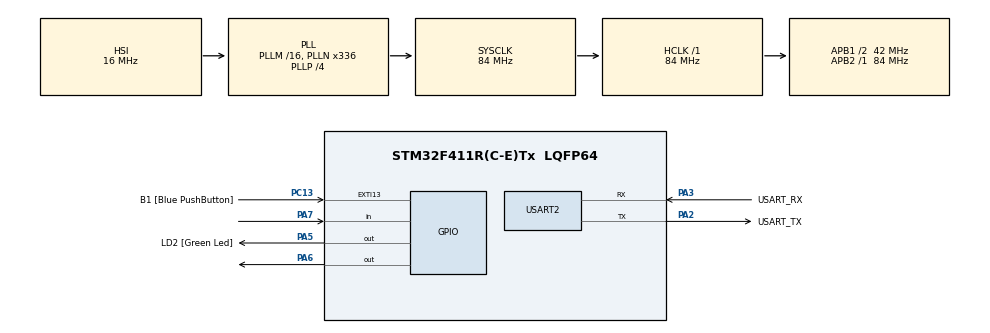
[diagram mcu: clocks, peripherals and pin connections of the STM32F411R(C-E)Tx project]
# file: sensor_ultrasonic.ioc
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Mcu.Family=STM32F4
Mcu.Name=STM32F411R(C-E)Tx
Mcu.Package=LQFP64
NVIC.PriorityGroup=NVIC_PRIORITYGROUP_0
PA13.GPIO_Label=TMS
PA13.Mode=Serial_Wire
PA13.Signal=SYS_JTMS-SWDIO
PA14.GPIO_Label=TCK
PA14.Mode=Serial_Wire
PA14.Signal=SYS_JTCK-SWCLK
PA2.GPIO_Label=USART_TX
PA2.Mode=Asynchronous
PA2.Signal=USART2_TX
PA3.GPIO_Label=USART_RX
PA3.Mode=Asynchronous
PA3.Signal=USART2_RX
PA5.GPIO_Label=LD2 [Green Led]
PA5.Signal=GPIO_Output
PA6.Signal=GPIO_Output
PA7.Signal=GPIO_Input
PB3.GPIO_Label=SWO
PB3.Signal=SYS_JTDO-SWO
PC13-ANTI_TAMP.GPIO_Label=B1 [Blue PushButton]
PC13-ANTI_TAMP.GPIO_ModeDefaultEXTI=GPIO_MODE_IT_FALLING
PC13-ANTI_TAMP.Signal=GPXTI13
PC14-OSC32_IN.Mode=LSE-External-Oscillator
PC14-OSC32_IN.Signal=RCC_OSC32_IN
PC15-OSC32_OUT.Mode=LSE-External-Oscillator
PC15-OSC32_OUT.Signal=RCC_OSC32_OUT
PH0\ -\ OSC_IN.Mode=HSE-External-Clock-Source
PH0\ -\ OSC_IN.Signal=RCC_OSC_IN
PH1\ -\ OSC_OUT.Mode=HSE-External-Clock-Source
PH1\ -\ OSC_OUT.Signal=RCC_OSC_OUT
ProjectManager.HeapSize=0x200
ProjectManager.StackSize=0x400
ProjectManager.TargetToolchain=STM32CubeIDE
RCC.48MHZClocksFreq_Value=84000000
RCC.AHBFreq_Value=84000000
RCC.APB1CLKDivider=RCC_HCLK_DIV2
RCC.APB1Freq_Value=42000000
RCC.APB1TimFreq_Value=84000000
RCC.APB2Freq_Value=84000000
RCC.APB2TimFreq_Value=84000000
RCC.CortexFreq_Value=84000000
RCC.FLatency-AdvancedSettings=FLASH_LATENCY_2
RCC.HCLKFreq_Value=84000000
RCC.HSE_VALUE=8000000
RCC.HSI_VALUE=16000000
RCC.PLLN=336
RCC.PLLP=RCC_PLLP_DIV4
RCC.SYSCLKFreq_VALUE=84000000
RCC.SYSCLKSource=RCC_SYSCLKSOURCE_PLLCLK
RCC.VCOOutputFreq_Value=336000000
TIM4.Prescaler=83
USART2.VirtualMode=VM_ASYNC
VP_TIM4_VS_ClockSourceINT.Mode=Internal
board=NUCLEO-F411RE

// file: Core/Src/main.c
/* USER CODE BEGIN Header */
/**
  ******************************************************************************
  * @file           : main.c
  * @brief          : Main program body
  ******************************************************************************
  * @attention
  *
  * Copyright (c) 2022 STMicroelectronics.
  * All rights reserved.
  *
  * This software is licensed under terms that can be found in the LICENSE file
  * in the root directory of this software component.
  * If no LICENSE file comes with this software, it is provided AS-IS.
  *
  ******************************************************************************
  */
/* USER CODE END Header */
#include "main.h"

/* USER CODE BEGIN Includes */
int duration, distance;

/* USER CODE END Includes */

TIM_HandleTypeDef htim4;

UART_HandleTypeDef huart2;

void SystemClock_Config(void);
static void MX_GPIO_Init(void);
static void MX_USART2_UART_Init(void);
static void MX_TIM4_Init(void);

/* USER CODE BEGIN 0 */
void delay_us (uint16_t us)
{
	__HAL_TIM_SET_COUNTER(&htim4,0);  // set the counter value a 0
	while (__HAL_TIM_GET_COUNTER(&htim4) < us);  // wait for the counter to reach the us input in the parameter
}

char str[200];
/* USER CODE END 0 */

int main(void)
{

  /* MCU Configuration--------------------------------------------------------*/

  /* Reset of all peripherals, Initializes the Flash interface and the Systick. */
  HAL_Init();

  /* Configure the system clock */
  SystemClock_Config();

  /* Initialize all configured peripherals */
  MX_GPIO_Init();
  MX_USART2_UART_Init();
  MX_TIM4_Init();

  /* Infinite loop */
  /* USER CODE BEGIN WHILE */
  while (1)
  {
	  duration = 0;
	  // digitalWrite บน PA6 (Trig)
	  HAL_GPIO_WritePin(GPIOA, GPIO_PIN_6, 0);
	  delay_us(2);
	  HAL_GPIO_WritePin(GPIOA, GPIO_PIN_6, 1);
	  delay_us(10);
	  HAL_GPIO_WritePin(GPIOA, GPIO_PIN_6, 0);

	  // ฟังชั่น pulseIn()
	  while (HAL_GPIO_ReadPin(GPIOA, GPIO_PIN_7) == 1){
		  delay_us(1);
		  duration++;
	  }

	  distance = duration / 58.2;

	  /*
	   * ต้องการส่งประโยค distance = .. cm.
	   *
	   * 1. แปลง distance เป็น int/float
	   * 2. sprintf ใส่ string สักตัว
	   * 3. เอาไปใส่ transmit function
	   *
	   * */
	  sprintf(str, "distance : %d cm. \n", distance);
	  HAL_UART_Transmit(&huart2, str, strlen(str), 100);

	  HAL_Delay(200);

    /* USER CODE END WHILE */

  }
}

void SystemClock_Config(void)
{
  RCC_OscInitTypeDef RCC_OscInitStruct = {0};
  RCC_ClkInitTypeDef RCC_ClkInitStruct = {0};

  /** Configure the main internal regulator output voltage
  */
  __HAL_RCC_PWR_CLK_ENABLE();
  __HAL_PWR_VOLTAGESCALING_CONFIG(PWR_REGULATOR_VOLTAGE_SCALE1);
  /** Initializes the RCC Oscillators according to the specified parameters
  * in the RCC_OscInitTypeDef structure.
  */
  RCC_OscInitStruct.OscillatorType = RCC_OSCILLATORTYPE_HSI;
  RCC_OscInitStruct.HSIState = RCC_HSI_ON;
  RCC_OscInitStruct.HSICalibrationValue = RCC_HSICALIBRATION_DEFAULT;
  RCC_OscInitStruct.PLL.PLLState = RCC_PLL_ON;
  RCC_OscInitStruct.PLL.PLLSource = RCC_PLLSOURCE_HSI;
  RCC_OscInitStruct.PLL.PLLM = 16;
  RCC_OscInitStruct.PLL.PLLN = 336;
  RCC_OscInitStruct.PLL.PLLP = RCC_PLLP_DIV4;
  RCC_OscInitStruct.PLL.PLLQ = 4;
  if (HAL_RCC_OscConfig(&RCC_OscInitStruct) != HAL_OK)
  {
    Error_Handler();
  }
  /** Initializes the CPU, AHB and APB buses clocks
  */
  RCC_ClkInitStruct.ClockType = RCC_CLOCKTYPE_HCLK|RCC_CLOCKTYPE_SYSCLK
                              |RCC_CLOCKTYPE_PCLK1|RCC_CLOCKTYPE_PCLK2;
  RCC_ClkInitStruct.SYSCLKSource = RCC_SYSCLKSOURCE_PLLCLK;
  RCC_ClkInitStruct.AHBCLKDivider = RCC_SYSCLK_DIV1;
  RCC_ClkInitStruct.APB1CLKDivider = RCC_HCLK_DIV2;
  RCC_ClkInitStruct.APB2CLKDivider = RCC_HCLK_DIV1;

  if (HAL_RCC_ClockConfig(&RCC_ClkInitStruct, FLASH_LATENCY_2) != HAL_OK)
  {
    Error_Handler();
  }
}

static void MX_TIM4_Init(void)
{

  TIM_ClockConfigTypeDef sClockSourceConfig = {0};
  TIM_MasterConfigTypeDef sMasterConfig = {0};

  htim4.Instance = TIM4;
  htim4.Init.Prescaler = 83;
  htim4.Init.CounterMode = TIM_COUNTERMODE_UP;
  htim4.Init.Period = 65535;
  htim4.Init.ClockDivision = TIM_CLOCKDIVISION_DIV1;
  htim4.Init.AutoReloadPreload = TIM_AUTORELOAD_PRELOAD_DISABLE;
  if (HAL_TIM_Base_Init(&htim4) != HAL_OK)
  {
    Error_Handler();
  }
  sClockSourceConfig.ClockSource = TIM_CLOCKSOURCE_INTERNAL;
  if (HAL_TIM_ConfigClockSource(&htim4, &sClockSourceConfig) != HAL_OK)
  {
    Error_Handler();
  }
  sMasterConfig.MasterOutputTrigger = TIM_TRGO_RESET;
  sMasterConfig.MasterSlaveMode = TIM_MASTERSLAVEMODE_DISABLE;
  if (HAL_TIMEx_MasterConfigSynchronization(&htim4, &sMasterConfig) != HAL_OK)
  {
    Error_Handler();
  }

}

static void MX_USART2_UART_Init(void)
{

  huart2.Instance = USART2;
  huart2.Init.BaudRate = 115200;
  huart2.Init.WordLength = UART_WORDLENGTH_8B;
  huart2.Init.StopBits = UART_STOPBITS_1;
  huart2.Init.Parity = UART_PARITY_NONE;
  huart2.Init.Mode = UART_MODE_TX_RX;
  huart2.Init.HwFlowCtl = UART_HWCONTROL_NONE;
  huart2.Init.OverSampling = UART_OVERSAMPLING_16;
  if (HAL_UART_Init(&huart2) != HAL_OK)
  {
    Error_Handler();
  }

}

static void MX_GPIO_Init(void)
{
  GPIO_InitTypeDef GPIO_InitStruct = {0};

  /* GPIO Ports Clock Enable */
  __HAL_RCC_GPIOC_CLK_ENABLE();
  __HAL_RCC_GPIOH_CLK_ENABLE();
  __HAL_RCC_GPIOA_CLK_ENABLE();
  __HAL_RCC_GPIOB_CLK_ENABLE();

  /*Configure GPIO pin Output Level */
  HAL_GPIO_WritePin(GPIOA, LD2_Pin|GPIO_PIN_6, GPIO_PIN_RESET);

  /*Configure GPIO pin : B1_Pin */
  GPIO_InitStruct.Pin = B1_Pin;
  GPIO_InitStruct.Mode = GPIO_MODE_IT_FALLING;
  GPIO_InitStruct.Pull = GPIO_NOPULL;
  HAL_GPIO_Init(B1_GPIO_Port, &GPIO_InitStruct);

  /*Configure GPIO pins : LD2_Pin PA6 */
  GPIO_InitStruct.Pin = LD2_Pin|GPIO_PIN_6;
  GPIO_InitStruct.Mode = GPIO_MODE_OUTPUT_PP;
  GPIO_InitStruct.Pull = GPIO_NOPULL;
  GPIO_InitStruct.Speed = GPIO_SPEED_FREQ_LOW;
  HAL_GPIO_Init(GPIOA, &GPIO_InitStruct);

  /*Configure GPIO pin : PA7 */
  GPIO_InitStruct.Pin = GPIO_PIN_7;
  GPIO_InitStruct.Mode = GPIO_MODE_INPUT;
  GPIO_InitStruct.Pull = GPIO_NOPULL;
  HAL_GPIO_Init(GPIOA, &GPIO_InitStruct);

}

void Error_Handler(void)
{
  __disable_irq();
  while (1)
  {
  }
}
